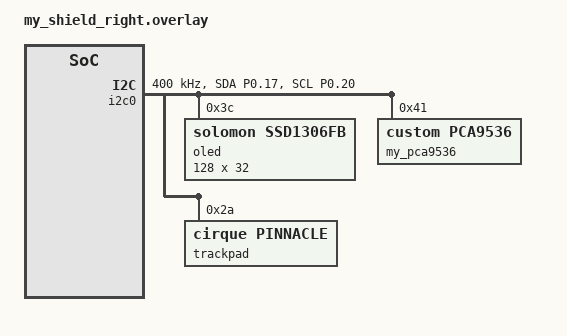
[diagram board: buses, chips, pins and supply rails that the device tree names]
/* my_shield_right.overlay */
#include "my_shield.dtsi" /* Importa il matrix_transform che abbiamo appena scritto */

/ {
    chosen {
        zmk,kscan = &kscan0;
        zmk,matrix-transform = &default_transform; /* <--- ECCOLO! */
    };
};

#include <dt-bindings/zmk/matrix_transform.h> //????

/* 1. Definiamo quali pin fisici del nice!nano fanno da SDA e SCL */
&pinctrl {
    i2c0_default: i2c0_default {
        group1 {
            /* Sul Pro Micro, P0.17 è D2 (SDA) e P0.20 è D3 (SCL) */
            psels = <NRF_PSEL(TWIM_SDA, 0, 17)>,
                    <NRF_PSEL(TWIM_SCL, 0, 20)>;
            /* Aggiungiamo le resistenze di pull-up interne per sicurezza, 
               anche se hai quelle esterne da 4.7k nelle tue specifiche */
            bias-pull-up; 
        };
    };
    i2c0_sleep: i2c0_sleep {
        group1 {
            psels = <NRF_PSEL(TWIM_SDA, 0, 17)>,
                    <NRF_PSEL(TWIM_SCL, 0, 20)>;
            low-power-enable;
        };
    };
};

/* 2. Attiviamo il bus I2C e "appendiamo" i dispositivi */
&i2c0 {
    status = "okay";
    compatible = "nordic,nrf-twim";
    pinctrl-0 = <&i2c0_default>;
    pinctrl-1 = <&i2c0_sleep>;
    pinctrl-names = "default", "sleep";
    clock-frequency = <I2C_BITRATE_FAST>; /* 400kHz */

    /* A. Lo schermo OLED */
    oled: ssd1306@3c {
        compatible = "solomon,ssd1306fb";
        reg = <0x3c>;
        width = <128>;
        height = <32>;
        segment-offset = <0>;
        page-offset = <0>;
        display-offset = <0>;
        multiplex-ratio = <31>;
        segment-remap;
        com-invdir;
        com-sequential;
        prechargep = <0x22>;
    };

    /* B. Il tuo I/O Expander custom */
    my_pca9536: pca9536@41 {
        compatible = "custom,pca9536";
        reg = <0x41>;
    };

    /* C. (Opzionale) Il sensore nativo del Cirque se scrivi un driver per lui */
    trackpad: cirque@2a {
        compatible = "cirque,pinnacle";
        reg = <0x2a>;
        status = "okay";
    };
};
